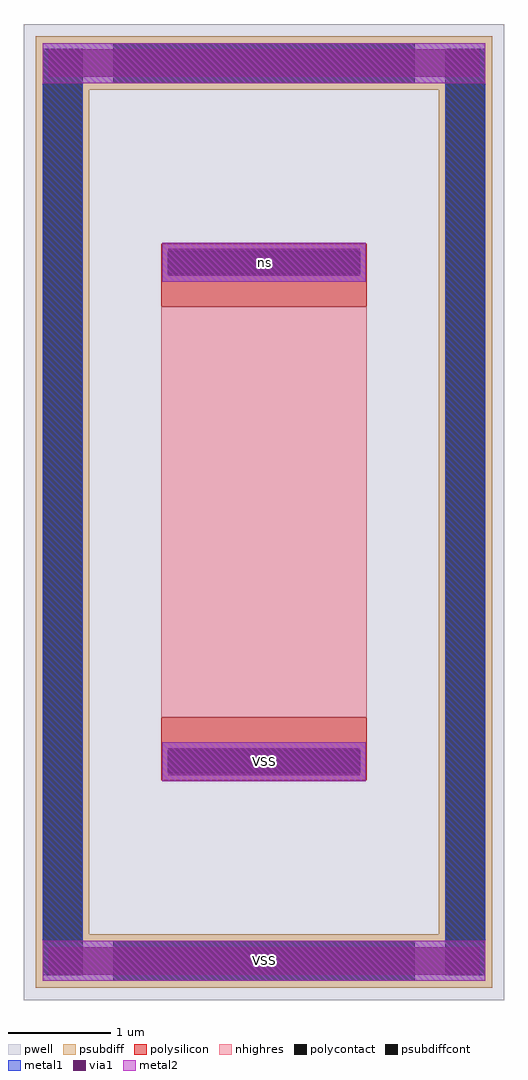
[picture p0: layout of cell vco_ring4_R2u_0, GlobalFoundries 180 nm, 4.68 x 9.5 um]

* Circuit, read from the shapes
.subckt vco_ring4_R2u_0 VSS ns
XR1 ns VSS VSS ppolyf_u_1k r_width=2u r_length=4u
.ends

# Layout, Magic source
magic
tech gf180mcuD
magscale 1 10
<< pwell >>
rect -468 -464 468 1436
<< psubdiff >>
rect -444 -440 444 -336
rect -444 1308 444 1412
rect -444 -336 -340 1308
rect 340 -336 444 1308
<< polysilicon >>
rect -200 886 200 1008
rect -200 -36 200 86
<< nhighres >>
rect -200 86 200 886
<< psubdiffcont >>
rect -431 -416 -353 1388
rect 353 -416 431 1388
rect -293 1321 293 1399
rect -293 -427 293 -349
<< polycontact >>
rect -187 949 187 995
rect -187 -23 187 23
<< metal1 >>
rect -198 949 198 995
rect -198 -23 198 23
rect -198 -38 198 38
rect -198 934 198 1010
rect -431 -427 431 -349
rect -431 1321 431 1399
rect -431 -427 -353 1399
rect 353 -427 431 1399
rect -431 -427 431 -349
rect -431 1321 431 1399
<< metal2 >>
rect -198 -38 198 38
rect -198 934 198 1010
rect -431 -427 431 -349
rect -431 1321 431 1399
<< via1 >>
rect -186 -26 186 26
rect -186 946 186 998
rect -419 -415 419 -361
rect -419 1333 419 1387
<< labels >>
flabel metal2 s -198 -38 198 38 0 FreeSans 80 0 0 0 VSS
port 1 nsew signal bidirectional
flabel metal2 s -198 934 198 1010 0 FreeSans 80 0 0 0 ns
port 2 nsew signal bidirectional
flabel metal2 s -431 -427 431 -349 0 FreeSans 80 0 0 0 VSS
port 1 nsew signal bidirectional
<< end >>
